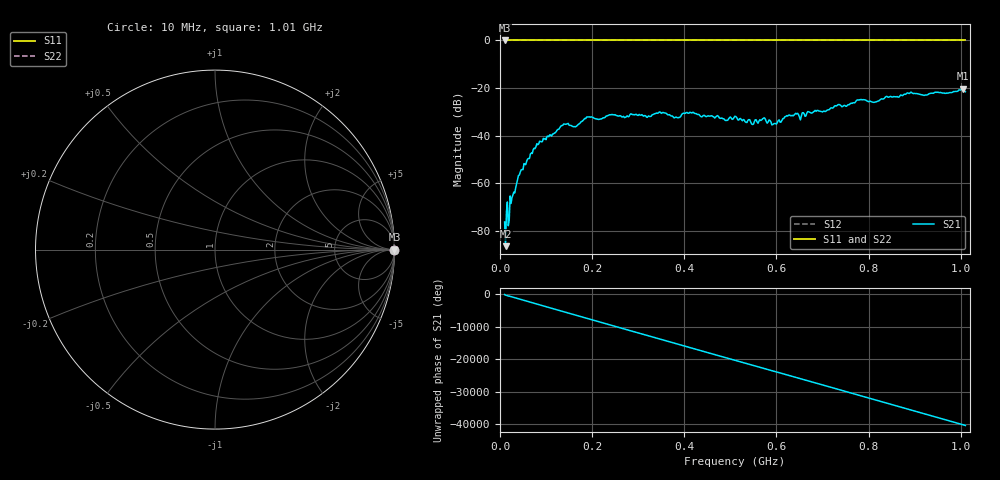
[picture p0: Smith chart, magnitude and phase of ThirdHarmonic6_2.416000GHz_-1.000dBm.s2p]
! 8/17/2025 4:05:20 AM
! C:\ANRITSUVNA\TEMP\TEMP.S2P
! CHANNEL.1
! TR.MEASUREMENT
! RAW.DATA
! RF.CORRECTION.OFF
! AVERAGING.OFF
! IF.BANDWIDTH: 5KHZ
! SWEEPTYPE:  FREQ.SWEEP(Linear)
! Reference Plane Port Info
! PORT:  PORT1  PORT2
! DISTANCE:  0  m  0  m
! TIME:  0  s  0  s
! PHASE.OFFSET:  0  deg.  0  deg.
! LOSS:  0  dB  0  dB
! REF.LOSS:  0  dB  0  dB
! REF.FREQ:  0  Hz  0  Hz
! Power Info
! POWER:  -20  dBm  -20  dBm
! EFF.POWER:  -20  dBm  -20  dBm
! SOURCE.ATTEN:  0  dB  0  dB
! TEST.ATTEN:  0  dB  0  dB
# GHZ S RI R 50.0
! FREQ.GHZ  S11RE  S11IM  S21RE  S21IM  S12RE  S12IM  S22RE  S22IM
!; PortSelection: Port_12
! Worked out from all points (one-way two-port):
!   501 points, 10 MHz to 1.01 GHz, reference 50 ohm
!   highest |S21| = -20.26 dB at 1.004 GHz (marker M1); lowest = -86.6 dB at 12 MHz (marker M2)
!   lowest |S11| = 0.0 dB at 10 MHz (marker M3)
!   |S11| at or under -10 dB: nowhere
!   |S22| runs from 0.0 to 0.0 dB; largest |S21 - S12| = 1.1
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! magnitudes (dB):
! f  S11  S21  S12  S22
! 10 MHz  0.0  -76.4  0.0  0.0
! 12 MHz  0.0  -86.6  0.0  0.0
! 16 MHz  0.0  -68.0  0.0  0.0
! 26 MHz  0.0  -66.1  0.0  0.0
! 42 MHz  0.0  -56.6  0.0  0.0
! 76 MHz  0.0  -45.5  0.0  0.0
! 136 MHz  0.0  -35.8  0.0  0.0
! 162 MHz  0.0  -36.3  0.0  0.0
! 178 MHz  0.0  -34.0  0.0  0.0
! 192 MHz  0.0  -32.2  0.0  0.0
! 344 MHz  0.0  -30.4  0.0  0.0
! 382 MHz  0.0  -32.3  0.0  0.0
! 416 MHz  0.0  -30.5  0.0  0.0
! 490 MHz  0.0  -33.7  0.0  0.0
! 510 MHz  0.0  -31.9  0.0  0.0
! 572 MHz  0.0  -32.7  0.0  0.0
! 594 MHz  0.0  -35.1  0.0  0.0
! 624 MHz  0.0  -31.8  0.0  0.0
! 678 MHz  0.0  -30.4  0.0  0.0
! 844 MHz  0.0  -23.9  0.0  0.0
! 1.004 GHz  0.0  -20.3  0.0  0.0
! 1.01 GHz  0.0  -21.6  0.0  0.0
